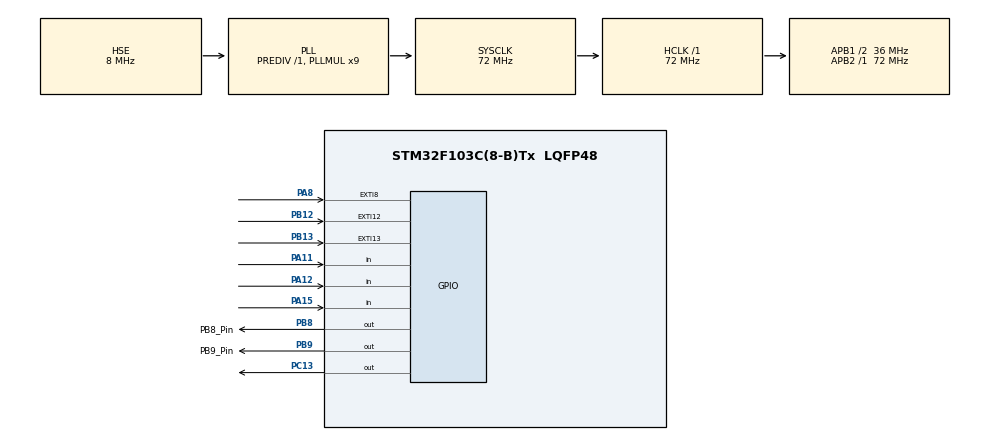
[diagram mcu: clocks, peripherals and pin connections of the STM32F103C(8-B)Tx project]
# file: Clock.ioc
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FREERTOS.Tasks01=defaultTask,24,128,StartDefaultTask,Default,NULL,Dynamic,NULL,NULL
Mcu.Family=STM32F1
Mcu.Name=STM32F103C(8-B)Tx
Mcu.Package=LQFP48
NVIC.EXTI15_10_IRQn=true\:5\:0\:false\:false\:true\:true\:true\:true\:true
NVIC.EXTI9_5_IRQn=true\:5\:0\:false\:false\:true\:true\:true\:true\:true
NVIC.PriorityGroup=NVIC_PRIORITYGROUP_4
NVIC.RTC_IRQn=true\:5\:0\:false\:false\:true\:true\:true\:true\:true
NVIC.TIM2_IRQn=true\:6\:0\:true\:false\:true\:true\:true\:true\:true
NVIC.TIM4_IRQn=true\:15\:0\:false\:false\:true\:false\:false\:true\:true
NVIC.TimeBase=TIM4_IRQn
NVIC.TimeBaseIP=TIM4
PA11.GPIO_PuPd=GPIO_PULLUP
PA11.Signal=GPIO_Input
PA12.GPIO_PuPd=GPIO_PULLUP
PA12.Signal=GPIO_Input
PA13.Mode=Serial_Wire
PA13.Signal=SYS_JTMS-SWDIO
PA14.Mode=Serial_Wire
PA14.Signal=SYS_JTCK-SWCLK
PA15.GPIO_PuPd=GPIO_PULLUP
PA15.Signal=GPIO_Input
PA8.GPIO_ModeDefaultEXTI=GPIO_MODE_IT_FALLING
PA8.GPIO_PuPd=GPIO_PULLUP
PA8.Signal=GPXTI8
PB12.GPIO_ModeDefaultEXTI=GPIO_MODE_IT_FALLING
PB12.GPIO_PuPd=GPIO_PULLUP
PB12.Signal=GPXTI12
PB13.GPIO_ModeDefaultEXTI=GPIO_MODE_IT_FALLING
PB13.GPIO_PuPd=GPIO_PULLUP
PB13.Signal=GPXTI13
PB8.GPIO_Label=PB8_Pin
PB8.GPIO_ModeDefaultOutputPP=GPIO_MODE_OUTPUT_OD
PB8.GPIO_PuPd=GPIO_NOPULL
PB8.Signal=GPIO_Output
PB9.GPIO_Label=PB9_Pin
PB9.GPIO_ModeDefaultOutputPP=GPIO_MODE_OUTPUT_OD
PB9.GPIO_PuPd=GPIO_NOPULL
PB9.Signal=GPIO_Output
PC13-TAMPER-RTC.GPIO_ModeDefaultOutputPP=GPIO_MODE_OUTPUT_PP
PC13-TAMPER-RTC.GPIO_PuPd=GPIO_NOPULL
PC13-TAMPER-RTC.Signal=GPIO_Output
PC14-OSC32_IN.Mode=LSE-External-Oscillator
PC14-OSC32_IN.Signal=RCC_OSC32_IN
PC15-OSC32_OUT.Mode=LSE-External-Oscillator
PC15-OSC32_OUT.Signal=RCC_OSC32_OUT
PD0-OSC_IN.Mode=HSE-External-Oscillator
PD0-OSC_IN.Signal=RCC_OSC_IN
PD1-OSC_OUT.Mode=HSE-External-Oscillator
PD1-OSC_OUT.Signal=RCC_OSC_OUT
ProjectManager.HeapSize=0x200
ProjectManager.StackSize=0x400
ProjectManager.TargetToolchain=MDK-ARM V5.32
RCC.AHBFreq_Value=72000000
RCC.APB1CLKDivider=RCC_HCLK_DIV2
RCC.APB1Freq_Value=36000000
RCC.APB1TimFreq_Value=72000000
RCC.APB2Freq_Value=72000000
RCC.APB2TimFreq_Value=72000000
RCC.HCLKFreq_Value=72000000
RCC.PLLMUL=RCC_PLL_MUL9
RCC.PLLSourceVirtual=RCC_PLLSOURCE_HSE
RCC.SYSCLKFreq_VALUE=72000000
RCC.SYSCLKSource=RCC_SYSCLKSOURCE_PLLCLK
RCC.USBFreq_Value=72000000
RTC.Date=13
RTC.Hours=11
RTC.Month=RTC_MONTH_SEPTEMBER
RTC.WeekDay=RTC_WEEKDAY_SATURDAY
RTC.Year=25
TIM2.Period=9
TIM2.Prescaler=71
VP_FREERTOS_VS_CMSIS_V2.Mode=CMSIS_V2
VP_RTC_No_RTC_Output.Mode=RTC_OUT_NO
VP_RTC_VS_RTC_Activate.Mode=RTC_Enabled
VP_SYS_VS_tim4.Mode=TIM4
VP_TIM2_VS_ClockSourceINT.Mode=Internal
board=custom

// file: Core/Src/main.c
/* USER CODE BEGIN Header */
/**
  ******************************************************************************
  * @file           : main.c
  * @brief          : Main program body
  ******************************************************************************
  * @attention
  *
  * Copyright (c) 2025 STMicroelectronics.
  * All rights reserved.
  *
  * This software is licensed under terms that can be found in the LICENSE file
  * in the root directory of this software component.
  * If no LICENSE file comes with this software, it is provided AS-IS.
  *
  ******************************************************************************
  */
/* USER CODE END Header */
#include "main.h"
#include "cmsis_os.h"
#include "rtc.h"
#include "tim.h"
#include "gpio.h"

/* USER CODE BEGIN Includes */
#include "OLED.h"
#include "Encoder.h"
/* USER CODE END Includes */

/* USER CODE BEGIN PV */
static int TestNum = 0;
extern Encoder_HandleTypeDef encoder;
/* USER CODE END PV */

void SystemClock_Config(void);
void MX_FREERTOS_Init(void);

int main(void)
{

  /* MCU Configuration--------------------------------------------------------*/

  /* Reset of all peripherals, Initializes the Flash interface and the Systick. */
  HAL_Init();

  /* Configure the system clock */
  SystemClock_Config();

  /* Initialize all configured peripherals */
  MX_GPIO_Init();
  MX_RTC_Init();
  MX_TIM2_Init();

  /* USER CODE BEGIN 2 */
	OLED_Init();
  Encoder_Init(&encoder, GPIOA, GPIO_PIN_11,  // A相
                     GPIOA, GPIO_PIN_15,  // B相
                     GPIOA, GPIO_PIN_12); // 按键
  /* USER CODE END 2 */

  /* Init scheduler */
  osKernelInitialize();  /* Call init function for freertos objects (in cmsis_os2.c) */
  MX_FREERTOS_Init();

  /* Start scheduler */
  osKernelStart();

  /* We should never get here as control is now taken by the scheduler */

  /* Infinite loop */
  while (1)
  {

  }
}

void SystemClock_Config(void)
{
  RCC_OscInitTypeDef RCC_OscInitStruct = {0};
  RCC_ClkInitTypeDef RCC_ClkInitStruct = {0};
  RCC_PeriphCLKInitTypeDef PeriphClkInit = {0};

  /** Initializes the RCC Oscillators according to the specified parameters
  * in the RCC_OscInitTypeDef structure.
  */
  RCC_OscInitStruct.OscillatorType = RCC_OSCILLATORTYPE_LSI|RCC_OSCILLATORTYPE_HSE;
  RCC_OscInitStruct.HSEState = RCC_HSE_ON;
  RCC_OscInitStruct.HSEPredivValue = RCC_HSE_PREDIV_DIV1;
  RCC_OscInitStruct.HSIState = RCC_HSI_ON;
  RCC_OscInitStruct.LSIState = RCC_LSI_ON;
  RCC_OscInitStruct.PLL.PLLState = RCC_PLL_ON;
  RCC_OscInitStruct.PLL.PLLSource = RCC_PLLSOURCE_HSE;
  RCC_OscInitStruct.PLL.PLLMUL = RCC_PLL_MUL9;
  if (HAL_RCC_OscConfig(&RCC_OscInitStruct) != HAL_OK)
  {
    Error_Handler();
  }

  /** Initializes the CPU, AHB and APB buses clocks
  */
  RCC_ClkInitStruct.ClockType = RCC_CLOCKTYPE_HCLK|RCC_CLOCKTYPE_SYSCLK
                              |RCC_CLOCKTYPE_PCLK1|RCC_CLOCKTYPE_PCLK2;
  RCC_ClkInitStruct.SYSCLKSource = RCC_SYSCLKSOURCE_PLLCLK;
  RCC_ClkInitStruct.AHBCLKDivider = RCC_SYSCLK_DIV1;
  RCC_ClkInitStruct.APB1CLKDivider = RCC_HCLK_DIV2;
  RCC_ClkInitStruct.APB2CLKDivider = RCC_HCLK_DIV1;

  if (HAL_RCC_ClockConfig(&RCC_ClkInitStruct, FLASH_LATENCY_2) != HAL_OK)
  {
    Error_Handler();
  }
  PeriphClkInit.PeriphClockSelection = RCC_PERIPHCLK_RTC;
  PeriphClkInit.RTCClockSelection = RCC_RTCCLKSOURCE_LSI;
  if (HAL_RCCEx_PeriphCLKConfig(&PeriphClkInit) != HAL_OK)
  {
    Error_Handler();
  }
}

void HAL_TIM_PeriodElapsedCallback(TIM_HandleTypeDef *htim)
{
  /* USER CODE BEGIN Callback 0 */
  if (htim->Instance == TIM2) {
    // 在定时器中断中更新编码器状态
    Encoder_Update(&encoder);
		TestNum++;
  }
  /* USER CODE END Callback 0 */
  if (htim->Instance == TIM4)
  {
    HAL_IncTick();
  }
}

void Error_Handler(void)
{
  __disable_irq();
  while (1)
  {
  }
}

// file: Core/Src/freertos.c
/* USER CODE BEGIN Header */
/**
  ******************************************************************************
  * File Name          : freertos.c
  * Description        : Code for freertos applications
  ******************************************************************************
  * @attention
  *
  * Copyright (c) 2025 STMicroelectronics.
  * All rights reserved.
  *
  * This software is licensed under terms that can be found in the LICENSE file
  * in the root directory of this software component.
  * If no LICENSE file comes with this software, it is provided AS-IS.
  *
  ******************************************************************************
  */
/* USER CODE END Header */

#include "FreeRTOS.h"
#include "task.h"
#include "main.h"
#include "cmsis_os.h"

/* USER CODE BEGIN Includes */
#include "gpio.h"
/* USER CODE END Includes */

/* USER CODE BEGIN Variables */

extern void MenuTask(void *pvParameters);
extern void TimeTask(void *pvParameters);
extern void ClockTask(void *pvParameters);

TaskHandle_t xMenuTaskHandle;
TaskHandle_t xClockTaskHandle;
TaskHandle_t xAlarmTaskHandle;
TaskHandle_t xGameTaskHandle;
TaskHandle_t xTempTaskHandle;
TaskHandle_t xGyroTaskHandle;
TaskHandle_t xSettingTaskHandle;
/* USER CODE END Variables */
/* Definitions for defaultTask */
osThreadId_t defaultTaskHandle;
const osThreadAttr_t defaultTask_attributes = {
  .name = "defaultTask",
  .stack_size = 128 * 4,
  .priority = (osPriority_t) osPriorityNormal,
};

void StartDefaultTask(void *argument);

void MX_FREERTOS_Init(void); /* (MISRA C 2004 rule 8.1) */

void MX_FREERTOS_Init(void) {

  /* Create the thread(s) */
  /* creation of defaultTask */
  defaultTaskHandle = osThreadNew(StartDefaultTask, NULL, &defaultTask_attributes);

  /* USER CODE BEGIN RTOS_THREADS */
  /* add threads, ... */
	xTaskCreate(MenuTask,"MenuTask",128,NULL,osPriorityNormal,&xMenuTaskHandle);
//	xTaskCreate(TimeTask,"TimeTask",128,NULL,osPriorityNormal,&xClockTaskHandle);
//	vTaskSuspend(xClockTaskHandle);
//	xTaskCreate(ClockTask,"ClockTask",128,NULL,osPriorityAboveNormal,&xAlarmTaskHandle);
//	vTaskSuspend(xAlarmTaskHandle);
  /* USER CODE END RTOS_THREADS */

}

void StartDefaultTask(void *argument)
{
  /* USER CODE BEGIN StartDefaultTask */
  /* Infinite loop */
	HAL_GPIO_WritePin(GPIOC,GPIO_PIN_13,GPIO_PIN_RESET);
  for(;;)
  {
    osDelay(1);
  }
  /* USER CODE END StartDefaultTask */
}
